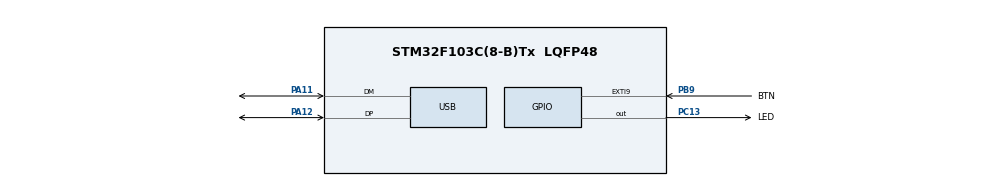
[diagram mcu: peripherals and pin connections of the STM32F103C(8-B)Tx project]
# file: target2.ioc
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Mcu.Family=STM32F1
Mcu.Name=STM32F103C(8-B)Tx
Mcu.Package=LQFP48
NVIC.EXTI9_5_IRQn=true\:0\:0\:false\:false\:true\:true\:true\:true
NVIC.PriorityGroup=NVIC_PRIORITYGROUP_4
NVIC.USB_LP_CAN1_RX0_IRQn=true\:0\:0\:false\:false\:true\:false\:true\:true
PA11.Mode=Device
PA11.Signal=USB_DM
PA12.Mode=Device
PA12.Signal=USB_DP
PA13.Mode=Serial_Wire
PA13.Signal=SYS_JTMS-SWDIO
PA14.Mode=Serial_Wire
PA14.Signal=SYS_JTCK-SWCLK
PB9.GPIO_Label=BTN
PB9.GPIO_ModeDefaultEXTI=GPIO_MODE_IT_RISING_FALLING
PB9.Signal=GPXTI9
PC13-TAMPER-RTC.GPIO_Label=LED
PC13-TAMPER-RTC.GPIO_ModeDefaultOutputPP=GPIO_MODE_OUTPUT_OD
PC13-TAMPER-RTC.GPIO_PuPd=GPIO_NOPULL
PC13-TAMPER-RTC.GPIO_Speed=GPIO_SPEED_FREQ_HIGH
PC13-TAMPER-RTC.PinState=GPIO_PIN_SET
PC13-TAMPER-RTC.Signal=GPIO_Output
PD0-OSC_IN.Mode=HSE-External-Oscillator
PD0-OSC_IN.Signal=RCC_OSC_IN
PD1-OSC_OUT.Mode=HSE-External-Oscillator
PD1-OSC_OUT.Signal=RCC_OSC_OUT
ProjectManager.HeapSize=0x400
ProjectManager.StackSize=0x800
ProjectManager.TargetToolchain=STM32CubeIDE
RCC.AHBFreq_Value=72000000
RCC.APB1CLKDivider=RCC_HCLK_DIV2
RCC.APB1Freq_Value=36000000
RCC.APB1TimFreq_Value=72000000
RCC.APB2Freq_Value=72000000
RCC.APB2TimFreq_Value=72000000
RCC.HCLKFreq_Value=72000000
RCC.PLLMUL=RCC_PLL_MUL9
RCC.PLLSourceVirtual=RCC_PLLSOURCE_HSE
RCC.SYSCLKFreq_VALUE=72000000
RCC.SYSCLKSource=RCC_SYSCLKSOURCE_PLLCLK
RCC.USBFreq_Value=48000000
RCC.USBPrescaler=RCC_USBCLKSOURCE_PLL_DIV1_5
USB_DEVICE.CLASS_NAME_FS=CDC
USB_DEVICE.USBD_SELF_POWERED=1
USB_DEVICE.VirtualMode=Cdc
USB_DEVICE.VirtualModeFS=Cdc_FS
VP_USB_DEVICE_VS_USB_DEVICE_CDC_FS.Mode=CDC_FS
board=custom

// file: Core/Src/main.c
/* USER CODE BEGIN Header */
/**
  ******************************************************************************
  * @file           : main.c
  * @brief          : Main program body
  ******************************************************************************
  * @attention
  *
  * Copyright (c) 2025 STMicroelectronics.
  * All rights reserved.
  *
  * This software is licensed under terms that can be found in the LICENSE file
  * in the root directory of this software component.
  * If no LICENSE file comes with this software, it is provided AS-IS.
  *
  ******************************************************************************
  */
/* USER CODE END Header */
#include "main.h"
#include "usb_device.h"

/* USER CODE BEGIN Includes */
#include "usbd_cdc_if.h"
/* USER CODE END Includes */

/* USER CODE BEGIN PV */
uint8_t cdc_tx_buf[2];
uint8_t btn_flag;
/* USER CODE END PV */

void SystemClock_Config(void);
static void MX_GPIO_Init(void);

/* USER CODE BEGIN 0 */
void BtnHandler()
{
  if (LL_GPIO_IsInputPinSet(BTN_GPIO_Port, BTN_Pin))
  {
	  if (cdc_tx_buf[0] != 'L')
	  {
		  cdc_tx_buf[0] = 'L';
		  CDC_Transmit_FS(cdc_tx_buf, 1);
		  LL_GPIO_SetOutputPin(LED_GPIO_Port, LED_Pin);
	  }
  }
  else
  {
	  if (cdc_tx_buf[0] != 'H')
	  {
		  cdc_tx_buf[0] = 'H';
		  CDC_Transmit_FS(cdc_tx_buf, 1);
		  LL_GPIO_ResetOutputPin(LED_GPIO_Port, LED_Pin);
	  }
  }
}
/* USER CODE END 0 */

int main(void)
{

  /* MCU Configuration--------------------------------------------------------*/

  /* Reset of all peripherals, Initializes the Flash interface and the Systick. */
  HAL_Init();

  /* Configure the system clock */
  SystemClock_Config();

  /* Initialize all configured peripherals */
  MX_GPIO_Init();
  MX_USB_DEVICE_Init();

  /* Infinite loop */
  /* USER CODE BEGIN WHILE */
  while (1)
  {
	  HAL_Delay(1);
//	  if(btn_flag)
//	  {
//		  BtnHandler();
//		  btn_flag = 0;
//	  }
    /* USER CODE END WHILE */

  }
}

void SystemClock_Config(void)
{
  LL_FLASH_SetLatency(LL_FLASH_LATENCY_2);
  while(LL_FLASH_GetLatency()!= LL_FLASH_LATENCY_2)
  {
  }
  LL_RCC_HSE_Enable();

   /* Wait till HSE is ready */
  while(LL_RCC_HSE_IsReady() != 1)
  {

  }
  LL_RCC_PLL_ConfigDomain_SYS(LL_RCC_PLLSOURCE_HSE_DIV_1, LL_RCC_PLL_MUL_9);
  LL_RCC_PLL_Enable();

   /* Wait till PLL is ready */
  while(LL_RCC_PLL_IsReady() != 1)
  {

  }
  LL_RCC_SetAHBPrescaler(LL_RCC_SYSCLK_DIV_1);
  LL_RCC_SetAPB1Prescaler(LL_RCC_APB1_DIV_2);
  LL_RCC_SetAPB2Prescaler(LL_RCC_APB2_DIV_1);
  LL_RCC_SetSysClkSource(LL_RCC_SYS_CLKSOURCE_PLL);

   /* Wait till System clock is ready */
  while(LL_RCC_GetSysClkSource() != LL_RCC_SYS_CLKSOURCE_STATUS_PLL)
  {

  }
  LL_SetSystemCoreClock(72000000);

   /* Update the time base */
  if (HAL_InitTick (TICK_INT_PRIORITY) != HAL_OK)
  {
    Error_Handler();
  }
  LL_RCC_SetUSBClockSource(LL_RCC_USB_CLKSOURCE_PLL_DIV_1_5);
}

static void MX_GPIO_Init(void)
{
  LL_EXTI_InitTypeDef EXTI_InitStruct = {0};
  LL_GPIO_InitTypeDef GPIO_InitStruct = {0};

  /* GPIO Ports Clock Enable */
  LL_APB2_GRP1_EnableClock(LL_APB2_GRP1_PERIPH_GPIOC);
  LL_APB2_GRP1_EnableClock(LL_APB2_GRP1_PERIPH_GPIOD);
  LL_APB2_GRP1_EnableClock(LL_APB2_GRP1_PERIPH_GPIOA);
  LL_APB2_GRP1_EnableClock(LL_APB2_GRP1_PERIPH_GPIOB);

  /**/
  LL_GPIO_SetOutputPin(LED_GPIO_Port, LED_Pin);

  /**/
  GPIO_InitStruct.Pin = LED_Pin;
  GPIO_InitStruct.Mode = LL_GPIO_MODE_OUTPUT;
  GPIO_InitStruct.Speed = LL_GPIO_SPEED_FREQ_HIGH;
  GPIO_InitStruct.OutputType = LL_GPIO_OUTPUT_OPENDRAIN;
  LL_GPIO_Init(LED_GPIO_Port, &GPIO_InitStruct);

  /**/
  LL_GPIO_AF_SetEXTISource(LL_GPIO_AF_EXTI_PORTB, LL_GPIO_AF_EXTI_LINE9);

  /**/
  EXTI_InitStruct.Line_0_31 = LL_EXTI_LINE_9;
  EXTI_InitStruct.LineCommand = ENABLE;
  EXTI_InitStruct.Mode = LL_EXTI_MODE_IT;
  EXTI_InitStruct.Trigger = LL_EXTI_TRIGGER_RISING_FALLING;
  LL_EXTI_Init(&EXTI_InitStruct);

  /**/
  LL_GPIO_SetPinMode(BTN_GPIO_Port, BTN_Pin, LL_GPIO_MODE_FLOATING);

  /* EXTI interrupt init*/
  NVIC_SetPriority(EXTI9_5_IRQn, NVIC_EncodePriority(NVIC_GetPriorityGrouping(),0, 0));
  NVIC_EnableIRQ(EXTI9_5_IRQn);

}

void Error_Handler(void)
{
  __disable_irq();
  while (1)
  {
  }
}
